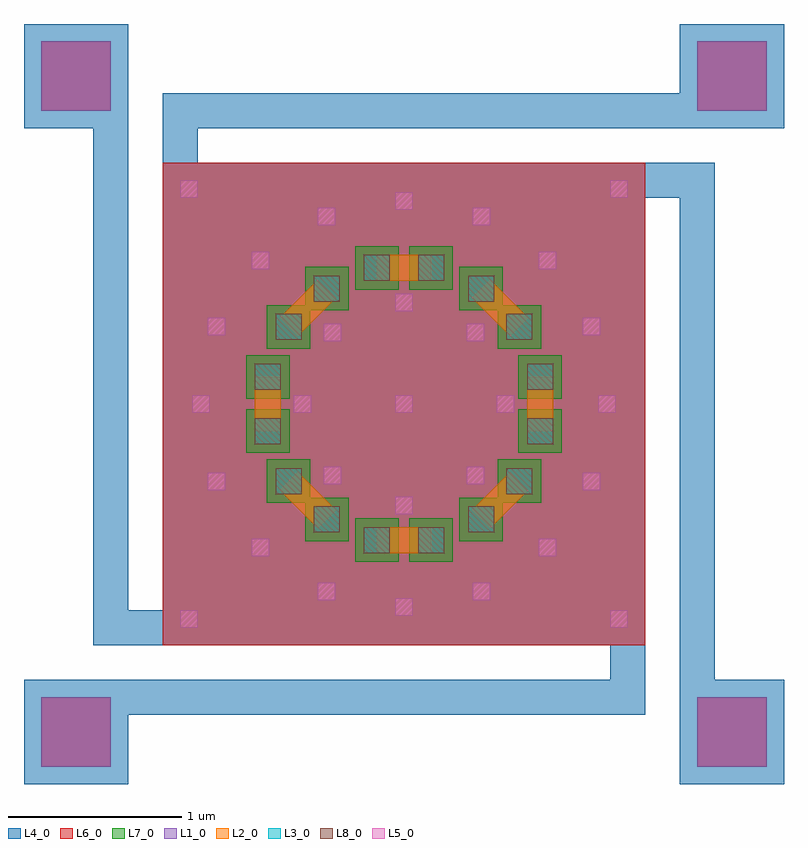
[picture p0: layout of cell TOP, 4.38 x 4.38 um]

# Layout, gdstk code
import gdstk
lib = gdstk.Library(unit=1e-6, precision=1e-09)
def R(c, l, rs):  # rectangles x0, y0, x1, y1
    for r in rs: c.add(gdstk.rectangle(r[:2], r[2:], *l))
def A(c, l, x, y, w, h, nx, ny, dx, dy):  # array of equal rectangles
    R(c, l, [(x+i*dx, y+j*dy, x+i*dx+w, y+j*dy+h) for i in range(nx) for j in range(ny)])
def P(c, l, *ps):  # polygons
    for p in ps: c.add(gdstk.Polygon(p, *l))
L1_0 = (1, 0)
L2_0 = (2, 0)
L3_0 = (3, 0)
L4_0 = (4, 0)
L5_0 = (5, 0)
L6_0 = (6, 0)
L7_0 = (7, 0)
L8_0 = (8, 0)

top = lib.new_cell('TOP')
R(top, L1_0, [(-2.09,-2.09,-1.69,-1.69), (1.69,-2.09,2.09,-1.69), (-2.09,1.69,-1.69,2.09), (1.69,1.69,2.09,2.09)])
R(top, L2_0, [(-0.156,-0.859,0.156,-0.709), (-0.859,-0.156,-0.709,0.156), (0.709,-0.156,0.859,0.156), (-0.156,0.709,0.156,0.859)])
P(top, L2_0, [(0.611,0.391),(0.391,0.611),(0.497,0.717),(0.717,0.497)],
  [(-0.611,0.391),(-0.717,0.497),(-0.497,0.717),(-0.391,0.611)],
  [(-0.497,-0.717),(-0.717,-0.497),(-0.611,-0.391),(-0.391,-0.611)],
  [(0.497,-0.717),(0.391,-0.611),(0.611,-0.391),(0.717,-0.497)])
R(top, L3_0, [(-0.231,-0.859,-0.081,-0.709), (0.081,-0.859,0.231,-0.709), (-0.519,-0.74,-0.369,-0.59), (0.369,-0.74,0.519,-0.59), (-0.74,-0.519,-0.59,-0.369), (0.59,-0.519,0.74,-0.369), (-0.859,-0.231,-0.709,-0.081), (0.709,-0.231,0.859,-0.081), (-0.859,0.081,-0.709,0.231), (0.709,0.081,0.859,0.231), (-0.74,0.369,-0.59,0.519), (0.59,0.369,0.74,0.519), (-0.519,0.59,-0.369,0.74), (0.369,0.59,0.519,0.74), (-0.231,0.709,-0.081,0.859), (0.081,0.709,0.231,0.859)])
P(top, L4_0, [(-2.19,-2.19),(-2.19,-1.59),(1.19,-1.59),(1.19,-1.39),(-1.79,-1.39),(-1.79,1.59),(-2.19,1.59),(-2.19,2.19),(-1.59,2.19),(-1.59,-1.19),(-1.39,-1.19),(-1.39,1.79),(1.59,1.79),(1.59,2.19),(2.19,2.19),(2.19,1.59),(-1.19,1.59),(-1.19,1.39),(1.79,1.39),(1.79,-1.59),(2.19,-1.59),(2.19,-2.19),(1.59,-2.19),(1.59,1.19),(1.39,1.19),(1.39,-1.79),(-1.59,-1.79),(-1.59,-2.19)])
A(top, L5_0, -1.22, -0.05, 0.1, 0.1, 5, 1, 0.585, 0)
R(top, L5_0, [(-1.29,-1.29,-1.19,-1.19), (1.19,-1.29,1.29,-1.19), (-0.05,-1.22,0.05,-1.12), (-0.497,-1.13,-0.397,-1.03), (0.397,-1.13,0.497,-1.03), (-0.877,-0.877,-0.777,-0.777), (0.777,-0.877,0.877,-0.777), (-0.05,-0.635,0.05,-0.535), (-1.13,-0.497,-1.03,-0.397), (1.03,-0.497,1.13,-0.397), (-0.463,-0.463,-0.363,-0.363), (0.363,-0.463,0.463,-0.363), (-0.463,0.363,-0.363,0.463), (0.363,0.363,0.463,0.463), (-1.13,0.397,-1.03,0.497), (1.03,0.397,1.13,0.497), (-0.05,0.535,0.05,0.635), (-0.877,0.777,-0.777,0.877), (0.777,0.777,0.877,0.877), (-0.497,1.03,-0.397,1.13), (0.397,1.03,0.497,1.13), (-0.05,1.12,0.05,1.22), (-1.29,1.19,-1.19,1.29), (1.19,1.19,1.29,1.29)])
R(top, L6_0, [(-2.09,-2.09,-1.69,-1.69), (1.69,-2.09,2.09,-1.69), (-1.39,-1.39,1.39,1.39), (-2.09,1.69,-1.69,2.09), (1.69,1.69,2.09,2.09)])
R(top, L7_0, [(-0.281,-0.909,-0.031,-0.659), (0.031,-0.909,0.281,-0.659), (-0.569,-0.79,-0.319,-0.54), (0.319,-0.79,0.569,-0.54), (-0.79,-0.569,-0.54,-0.319), (0.54,-0.569,0.79,-0.319), (-0.909,-0.281,-0.659,-0.031), (0.659,-0.281,0.909,-0.031), (-0.909,0.031,-0.659,0.281), (0.659,0.031,0.909,0.281), (-0.79,0.319,-0.54,0.569), (0.54,0.319,0.79,0.569), (-0.569,0.54,-0.319,0.79), (0.319,0.54,0.569,0.79), (-0.281,0.659,-0.031,0.909), (0.031,0.659,0.281,0.909)])
R(top, L8_0, [(-0.231,-0.859,-0.081,-0.709), (0.081,-0.859,0.231,-0.709), (-0.519,-0.74,-0.369,-0.59), (0.369,-0.74,0.519,-0.59), (-0.74,-0.519,-0.59,-0.369), (0.59,-0.519,0.74,-0.369), (-0.859,-0.231,-0.709,-0.081), (0.709,-0.231,0.859,-0.081), (-0.859,0.081,-0.709,0.231), (0.709,0.081,0.859,0.231), (-0.74,0.369,-0.59,0.519), (0.59,0.369,0.74,0.519), (-0.519,0.59,-0.369,0.74), (0.369,0.59,0.519,0.74), (-0.231,0.709,-0.081,0.859), (0.081,0.709,0.231,0.859)])

lib.write_gds('TOP.gds')
